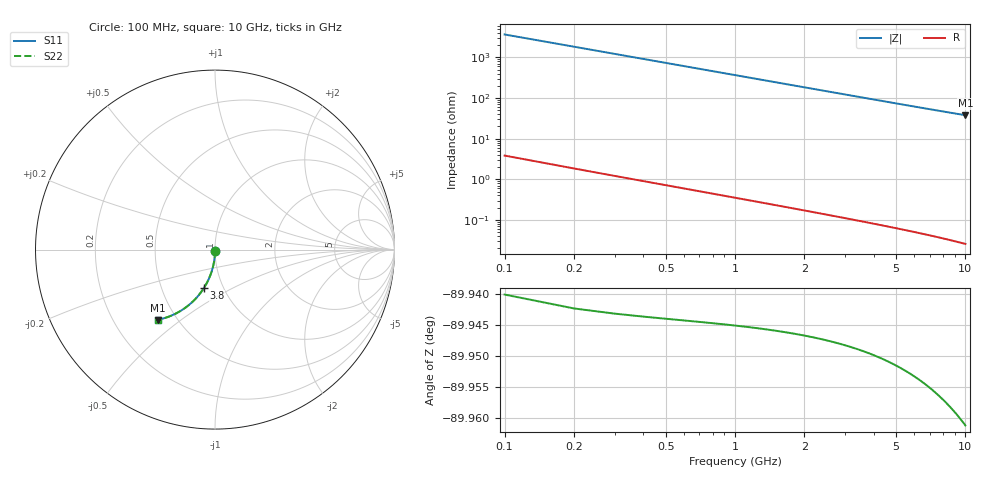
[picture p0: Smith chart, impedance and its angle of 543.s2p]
# Hz S RI R 50.00
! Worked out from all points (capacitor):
!   100 points, 100 MHz to 10 GHz, reference 50 ohm
!   read as one part in shunt: C = 433 fF near 100 MHz
!   lowest |Z| = 37.8 ohm at 10 GHz (marker M1)
!   S11 on the Smith chart (normalised r, x): 100 MHz: 1.00, -0.01; 3.8 GHz: 0.81, -0.37; 10 GHz: 0.39, -0.41
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1e8  0.00043 -0.00605  0.9995 -0.00756  0.9995 -0.00756  0.00043 -0.00605
2e8  0.000289 -0.0121  0.9993 -0.0151  0.9993 -0.0151  0.000289 -0.0121
3e8  5.64e-05 -0.0181  0.9991 -0.0227  0.9991 -0.0227  5.64e-05 -0.0181
4e8  -0.000268 -0.0242  0.9987 -0.0302  0.9987 -0.0302  -0.000268 -0.0242
5e8  -0.000684 -0.0302  0.9983 -0.0378  0.9983 -0.0378  -0.000684 -0.0302
6e8  -0.00119 -0.0362  0.9978 -0.0453  0.9978 -0.0453  -0.00119 -0.0362
7e8  -0.00179 -0.0422  0.9972 -0.0528  0.9972 -0.0528  -0.00179 -0.0422
8e8  -0.00248 -0.0482  0.9965 -0.0603  0.9965 -0.0603  -0.00248 -0.0482
9e8  -0.00325 -0.0542  0.9957 -0.0678  0.9957 -0.0678  -0.00325 -0.0542
1.1e9  -0.00508 -0.0661  0.9938 -0.0828  0.9938 -0.0828  -0.00508 -0.0661
1.4e9  -0.00848 -0.0839  0.9903 -0.105  0.9903 -0.105  -0.00848 -0.0839
1.8e9  -0.0142 -0.1071  0.9844 -0.1344  0.9844 -0.1344  -0.0142 -0.1071
2.1e9  -0.0194 -0.1243  0.979 -0.1561  0.979 -0.1561  -0.0194 -0.1243
2.5e9  -0.0275 -0.1466  0.9707 -0.1845  0.9707 -0.1845  -0.0275 -0.1466
2.9e9  -0.0368 -0.1683  0.9612 -0.2122  0.9612 -0.2122  -0.0368 -0.1683
3.4e9  -0.0501 -0.1944  0.9475 -0.2459  0.9475 -0.2459  -0.0501 -0.1944
3.8e9  -0.062 -0.2142  0.9353 -0.2719  0.9353 -0.2719  -0.062 -0.2142
4.4e9  -0.0816 -0.2424  0.9151 -0.3092  0.9151 -0.3092  -0.0816 -0.2424
5.1e9  -0.107 -0.2724  0.8889 -0.3499  0.8889 -0.3499  -0.107 -0.2724
6.7e9  -0.1723 -0.3288  0.8213 -0.4309  0.8213 -0.4309  -0.1723 -0.3288
8.4e9  -0.248 -0.3697  0.7425 -0.4983  0.7425 -0.4983  -0.248 -0.3697
1e10  -0.3202 -0.3916  0.6667 -0.5453  0.6667 -0.5453  -0.3202 -0.3916
